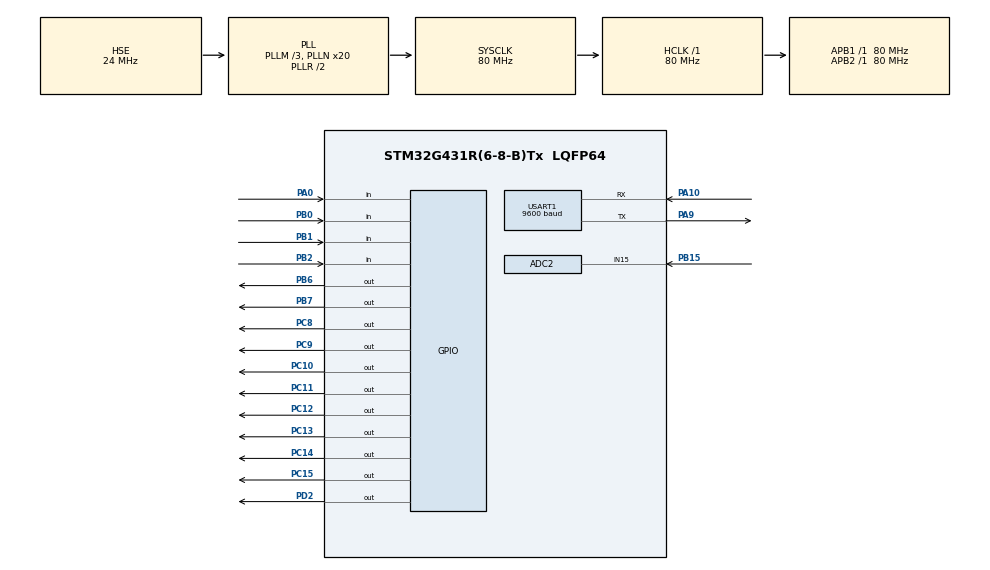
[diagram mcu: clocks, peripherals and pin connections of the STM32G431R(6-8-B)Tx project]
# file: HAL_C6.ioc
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ADC2.Channel-0\#ChannelRegularConversion=ADC_CHANNEL_15
ADC2.NbrOfConversionFlag=1
ADC2.OffsetNumber-0\#ChannelRegularConversion=ADC_OFFSET_NONE
ADC2.Rank-0\#ChannelRegularConversion=1
ADC2.SamplingTime-0\#ChannelRegularConversion=ADC_SAMPLETIME_640CYCLES_5
Dma.Request0=USART1_RX
Dma.Request1=USART1_TX
Dma.USART1_RX.0.Direction=DMA_PERIPH_TO_MEMORY
Dma.USART1_RX.0.EventEnable=DISABLE
Dma.USART1_RX.0.Instance=DMA1_Channel1
Dma.USART1_RX.0.MemDataAlignment=DMA_MDATAALIGN_BYTE
Dma.USART1_RX.0.MemInc=DMA_MINC_ENABLE
Dma.USART1_RX.0.Mode=DMA_NORMAL
Dma.USART1_RX.0.PeriphDataAlignment=DMA_PDATAALIGN_BYTE
Dma.USART1_RX.0.PeriphInc=DMA_PINC_DISABLE
Dma.USART1_RX.0.Polarity=HAL_DMAMUX_REQ_GEN_RISING
Dma.USART1_RX.0.Priority=DMA_PRIORITY_LOW
Dma.USART1_RX.0.RequestNumber=1
Dma.USART1_RX.0.SignalID=NONE
Dma.USART1_RX.0.SyncEnable=DISABLE
Dma.USART1_RX.0.SyncPolarity=HAL_DMAMUX_SYNC_NO_EVENT
Dma.USART1_RX.0.SyncRequestNumber=1
Dma.USART1_RX.0.SyncSignalID=NONE
Dma.USART1_TX.1.Direction=DMA_MEMORY_TO_PERIPH
Dma.USART1_TX.1.EventEnable=DISABLE
Dma.USART1_TX.1.Instance=DMA1_Channel2
Dma.USART1_TX.1.MemDataAlignment=DMA_MDATAALIGN_BYTE
Dma.USART1_TX.1.MemInc=DMA_MINC_ENABLE
Dma.USART1_TX.1.Mode=DMA_NORMAL
Dma.USART1_TX.1.PeriphDataAlignment=DMA_PDATAALIGN_BYTE
Dma.USART1_TX.1.PeriphInc=DMA_PINC_DISABLE
Dma.USART1_TX.1.Polarity=HAL_DMAMUX_REQ_GEN_RISING
Dma.USART1_TX.1.Priority=DMA_PRIORITY_LOW
Dma.USART1_TX.1.RequestNumber=1
Dma.USART1_TX.1.SignalID=NONE
Dma.USART1_TX.1.SyncEnable=DISABLE
Dma.USART1_TX.1.SyncPolarity=HAL_DMAMUX_SYNC_NO_EVENT
Dma.USART1_TX.1.SyncRequestNumber=1
Dma.USART1_TX.1.SyncSignalID=NONE
Mcu.Family=STM32G4
Mcu.Name=STM32G431R(6-8-B)Tx
Mcu.Package=LQFP64
NVIC.DMA1_Channel1_IRQn=true\:0\:0\:false\:false\:true\:false\:true
NVIC.DMA1_Channel2_IRQn=true\:0\:0\:false\:false\:true\:false\:true
NVIC.PriorityGroup=NVIC_PRIORITYGROUP_4
NVIC.USART1_IRQn=true\:0\:0\:false\:false\:true\:true\:true
PA0.Signal=GPIO_Input
PA10.Mode=Asynchronous
PA10.Signal=USART1_RX
PA9.Mode=Asynchronous
PA9.Signal=USART1_TX
PB0.Signal=GPIO_Input
PB1.Signal=GPIO_Input
PB15.Mode=IN15-Single-Ended
PB15.Signal=ADC2_IN15
PB2.Signal=GPIO_Input
PB6.Signal=GPIO_Output
PB7.Signal=GPIO_Output
PC10.PinState=GPIO_PIN_SET
PC10.Signal=GPIO_Output
PC11.PinState=GPIO_PIN_SET
PC11.Signal=GPIO_Output
PC12.PinState=GPIO_PIN_SET
PC12.Signal=GPIO_Output
PC13.PinState=GPIO_PIN_SET
PC13.Signal=GPIO_Output
PC14-OSC32_IN.PinState=GPIO_PIN_SET
PC14-OSC32_IN.Signal=GPIO_Output
PC15-OSC32_OUT.PinState=GPIO_PIN_SET
PC15-OSC32_OUT.Signal=GPIO_Output
PC8.PinState=GPIO_PIN_SET
PC8.Signal=GPIO_Output
PC9.PinState=GPIO_PIN_SET
PC9.Signal=GPIO_Output
PD2.PinState=GPIO_PIN_RESET
PD2.Signal=GPIO_Output
PF0-OSC_IN.Mode=HSE-External-Oscillator
PF0-OSC_IN.Signal=RCC_OSC_IN
PF1-OSC_OUT.Mode=HSE-External-Oscillator
PF1-OSC_OUT.Signal=RCC_OSC_OUT
ProjectManager.HeapSize=0x200
ProjectManager.StackSize=0x400
ProjectManager.TargetToolchain=MDK-ARM V5.27
RCC.ADC12Freq_Value=80000000
RCC.AHBFreq_Value=80000000
RCC.APB1Freq_Value=80000000
RCC.APB1TimFreq_Value=80000000
RCC.APB2Freq_Value=80000000
RCC.APB2TimFreq_Value=80000000
RCC.CortexFreq_Value=80000000
RCC.EXTERNAL_CLOCK_VALUE=12288000
RCC.HCLKFreq_Value=80000000
RCC.HSE_VALUE=24000000
RCC.HSI48_VALUE=48000000
RCC.HSI_VALUE=16000000
RCC.LSE_VALUE=32768
RCC.PLLM=RCC_PLLM_DIV3
RCC.PLLN=20
RCC.PLLSourceVirtual=RCC_PLLSOURCE_HSE
RCC.SYSCLKFreq_VALUE=80000000
RCC.SYSCLKSource=RCC_SYSCLKSOURCE_PLLCLK
RCC.USBFreq_Value=80000000
RCC.VCOOutputFreq_Value=160000000
RTC.Hours=23
RTC.Minutes=59
RTC.Seconds=30
RTC.Year=22
USART1.BaudRate=9600
USART1.VirtualMode-Asynchronous=VM_ASYNC
VP_RTC_VS_RTC_Activate.Mode=RTC_Enabled
VP_RTC_VS_RTC_Calendar.Mode=RTC_Calendar
VP_SYS_VS_DBSignals.Mode=DisableDeadBatterySignals
board=custom

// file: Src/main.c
/* USER CODE BEGIN Header */
/**
  ******************************************************************************
  * @file           : main.c
  * @brief          : Main program body
  ******************************************************************************
  * @attention
  *
  * <h2><center>&copy; Copyright (c) 2024 STMicroelectronics.
  * All rights reserved.</center></h2>
  *
  * This software component is licensed by ST under BSD 3-Clause license,
  * the "License"; You may not use this file except in compliance with the
  * License. You may obtain a copy of the License at:
  *                        opensource.org/licenses/BSD-3-Clause
  *
  ******************************************************************************
  */
/* USER CODE END Header */

#include "main.h"
#include "adc.h"
#include "dma.h"
#include "rtc.h"
#include "usart.h"
#include "gpio.h"

/* USER CODE BEGIN Includes */
#include "lcd_hal.h"
#include "i2c_hal.h"
#include <stdio.h>
#include <string.h>
#include "led.h"
/* USER CODE END Includes */

/* USER CODE BEGIN PTD */
typedef enum
{
	Key_Check,
	Key_Press,
	Key_Release,
	Key_Over
}Key_State;
/* USER CODE END PTD */

/* USER CODE BEGIN PD */
#define K1 HAL_GPIO_ReadPin(GPIOB, GPIO_PIN_0)
#define K2 HAL_GPIO_ReadPin(GPIOB, GPIO_PIN_1)
#define K3 HAL_GPIO_ReadPin(GPIOB, GPIO_PIN_2)
#define K4 HAL_GPIO_ReadPin(GPIOA, GPIO_PIN_0)

#define Press GPIO_PIN_RESET
#define Release GPIO_PIN_SET
/* USER CODE END PD */

/* USER CODE BEGIN PV */
uint8_t Str[20];
uint8_t Rx[11];
uint8_t RecCount;
Key_State KeyState = Key_Check;
uint8_t KeyNum;
uint16_t Key_Press_Time = 20;

uint8_t ShowTime[15] = "T:HH-MM-SS";
uint8_t ShowDate[15] = "YYYY:MM:DD";
float K = 0.1, Volt;

uint8_t Flag_LD1;
/* USER CODE END PV */

void SystemClock_Config(void);
/* USER CODE BEGIN PFP */
float getADC_R37(void);
void Key_Scan(void);
void RTC_Show(uint8_t *ShowTime, uint8_t *ShowDate);
void RTC_SetTime(uint8_t HH, uint8_t MM, uint8_t SS);
void RTC_SetDate(uint8_t YY, uint8_t MM, uint8_t DD);
extern DMA_HandleTypeDef hdma_usart1_rx;
extern DMA_HandleTypeDef hdma_usart1_tx;
/* USER CODE END PFP */

/* USER CODE BEGIN 0 */
void HAL_UART_IdleCpltCallback(UART_HandleTypeDef *huart)
{
	LED_TRG(3);
	RecCount = 10 - __HAL_DMA_GET_COUNTER(&hdma_usart1_rx);
	HAL_UART_Transmit_DMA(&huart1, Rx, RecCount);
	LCD_DisplayStringLine(Line7, Rx);
	RecCount = 0;
//	strcpy((char *)Rx, "           ");
	HAL_UART_Receive_DMA(&huart1, Rx, 10);
}
/* USER CODE END 0 */

int main(void)
{

  /* MCU Configuration--------------------------------------------------------*/

  /* Reset of all peripherals, Initializes the Flash interface and the Systick. */
  HAL_Init();

  /* Configure the system clock */
  SystemClock_Config();

  /* Initialize all configured peripherals */
  MX_GPIO_Init();
  MX_DMA_Init();
  MX_ADC2_Init();
  MX_RTC_Init();
  MX_USART1_UART_Init();
  /* USER CODE BEGIN 2 */
  LED_Init();

  LCD_Init();
  LCD_Clear(Black);
  LCD_SetBackColor(Black);
  LCD_SetTextColor(White);

  RTC_SetTime(23, 59, 55);
  RTC_SetDate(24, 3, 21);

  HAL_UART_Receive_DMA(&huart1, Rx, 10);
  __HAL_UART_ENABLE_IT(&huart1, UART_IT_IDLE);
  /* USER CODE END 2 */

  /* Infinite loop */
  /* USER CODE BEGIN WHILE */
  while (1)
  {

	  if(KeyState == Key_Over)
	  {
		  KeyState = Key_Check;
		  if(KeyNum == 1)
		  {

		  }
		  else if(KeyNum == 2)
		  {

		  }
		  else if(KeyNum == 3)
		  {

		  }
		  else if(KeyNum == 4)
		  {

		  }
		  Key_Press_Time = 0;
	  }

	  Volt = getADC_R37();
	  sprintf((char *)Str, "      V1:%.2fV", Volt);
	  LCD_DisplayStringLine(Line2, Str);

	  if(Volt > 3.3f * K)
	  {
		  Flag_LD1 = 1;
	  }
	  RTC_Show(ShowTime, ShowDate);
    /* USER CODE END WHILE */

  }
}

void SystemClock_Config(void)
{
  RCC_OscInitTypeDef RCC_OscInitStruct = {0};
  RCC_ClkInitTypeDef RCC_ClkInitStruct = {0};
  RCC_PeriphCLKInitTypeDef PeriphClkInit = {0};

  /** Configure the main internal regulator output voltage
  */
  HAL_PWREx_ControlVoltageScaling(PWR_REGULATOR_VOLTAGE_SCALE1);
  /** Initializes the CPU, AHB and APB busses clocks
  */
  RCC_OscInitStruct.OscillatorType = RCC_OSCILLATORTYPE_LSI|RCC_OSCILLATORTYPE_HSE;
  RCC_OscInitStruct.HSEState = RCC_HSE_ON;
  RCC_OscInitStruct.LSIState = RCC_LSI_ON;
  RCC_OscInitStruct.PLL.PLLState = RCC_PLL_ON;
  RCC_OscInitStruct.PLL.PLLSource = RCC_PLLSOURCE_HSE;
  RCC_OscInitStruct.PLL.PLLM = RCC_PLLM_DIV3;
  RCC_OscInitStruct.PLL.PLLN = 20;
  RCC_OscInitStruct.PLL.PLLP = RCC_PLLP_DIV2;
  RCC_OscInitStruct.PLL.PLLQ = RCC_PLLQ_DIV2;
  RCC_OscInitStruct.PLL.PLLR = RCC_PLLR_DIV2;
  if (HAL_RCC_OscConfig(&RCC_OscInitStruct) != HAL_OK)
  {
    Error_Handler();
  }
  /** Initializes the CPU, AHB and APB busses clocks
  */
  RCC_ClkInitStruct.ClockType = RCC_CLOCKTYPE_HCLK|RCC_CLOCKTYPE_SYSCLK
                              |RCC_CLOCKTYPE_PCLK1|RCC_CLOCKTYPE_PCLK2;
  RCC_ClkInitStruct.SYSCLKSource = RCC_SYSCLKSOURCE_PLLCLK;
  RCC_ClkInitStruct.AHBCLKDivider = RCC_SYSCLK_DIV1;
  RCC_ClkInitStruct.APB1CLKDivider = RCC_HCLK_DIV1;
  RCC_ClkInitStruct.APB2CLKDivider = RCC_HCLK_DIV1;

  if (HAL_RCC_ClockConfig(&RCC_ClkInitStruct, FLASH_LATENCY_3) != HAL_OK)
  {
    Error_Handler();
  }
  /** Initializes the peripherals clocks
  */
  PeriphClkInit.PeriphClockSelection = RCC_PERIPHCLK_RTC|RCC_PERIPHCLK_USART1
                              |RCC_PERIPHCLK_ADC12;
  PeriphClkInit.Usart1ClockSelection = RCC_USART1CLKSOURCE_PCLK2;
  PeriphClkInit.Adc12ClockSelection = RCC_ADC12CLKSOURCE_SYSCLK;
  PeriphClkInit.RTCClockSelection = RCC_RTCCLKSOURCE_LSI;

  if (HAL_RCCEx_PeriphCLKConfig(&PeriphClkInit) != HAL_OK)
  {
    Error_Handler();
  }
}

/* USER CODE BEGIN 4 */
void RTC_Show(uint8_t * ShowTime, uint8_t * ShowDate)
{
	RTC_TimeTypeDef sTimeStructure;
	HAL_RTC_GetTime(&hrtc, &sTimeStructure, RTC_FORMAT_BIN);

	RTC_DateTypeDef sDateStructure;
	HAL_RTC_GetDate(&hrtc, &sDateStructure, RTC_FORMAT_BIN);

	sprintf((char *)ShowTime, "     T:%2d-%2d-%2d", sTimeStructure.Hours, sTimeStructure.Minutes, sTimeStructure.Seconds);
	LCD_DisplayStringLine(Line8, ShowTime);
}

void RTC_SetTime(uint8_t HH, uint8_t MM, uint8_t SS)
{
	RTC_TimeTypeDef sTime = {0};

	sTime.Hours = HH;
	sTime.Minutes = MM;
	sTime.Seconds = SS;

	HAL_RTC_SetTime(&hrtc, &sTime, RTC_FORMAT_BIN);
}

void RTC_SetDate(uint8_t YY, uint8_t MM, uint8_t DD)
{
	RTC_DateTypeDef sDate = {0};

	sDate.Year = YY;
	sDate.Month = MM;
	sDate.Date	= DD;

	HAL_RTC_SetDate(&hrtc, &sDate, RTC_FORMAT_BIN);
}
void Key_Scan(void)
{
	switch (KeyState)
	{
		case Key_Check:
		{
			if(K1 == Press || K2 == Press || K3 == Press || K4 == Press)
			{
				KeyState = Key_Press;
			}
		}
		break;
		case Key_Press:
		{
			if(K1 == Press)KeyNum = 1;
			else if(K2 == Press)KeyNum = 2;
			else if(K3 == Press)KeyNum = 3;
			else if(K4 == Press)KeyNum = 4;
			KeyState = Key_Release;
		}
		break;
		case Key_Release:
		{
			if(K1 == Press || K2 == Press || K3 == Press || K4 == Press)
			{
				Key_Press_Time += 10;
			}
			else
			{
				KeyState = Key_Over;
			}
		}
		break;
		default:
		break;
	}
}
float getADC_R37(void)
{
	uint16_t adc;
	HAL_ADC_Start(&hadc2);
	HAL_ADC_PollForConversion(&hadc2, 10);
	adc = HAL_ADC_GetValue(&hadc2);
	return (adc * 3.3f / 4096.0f);
}
/* USER CODE END 4 */

void Error_Handler(void)
{
}

/************************ (C) COPYRIGHT STMicroelectronics *****END OF FILE****/
